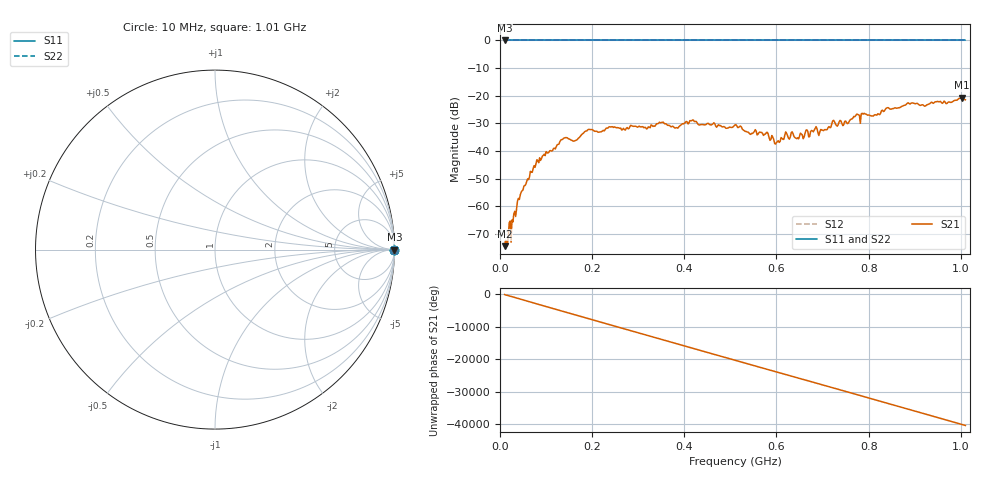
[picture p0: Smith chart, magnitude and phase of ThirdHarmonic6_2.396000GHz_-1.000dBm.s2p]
! 8/17/2025 3:55:18 AM
! C:\ANRITSUVNA\TEMP\TEMP.S2P
! CHANNEL.1
! TR.MEASUREMENT
! RAW.DATA
! RF.CORRECTION.OFF
! AVERAGING.OFF
! IF.BANDWIDTH: 5KHZ
! SWEEPTYPE:  FREQ.SWEEP(Linear)
! Reference Plane Port Info
! PORT:  PORT1  PORT2
! DISTANCE:  0  m  0  m
! TIME:  0  s  0  s
! PHASE.OFFSET:  0  deg.  0  deg.
! LOSS:  0  dB  0  dB
! REF.LOSS:  0  dB  0  dB
! REF.FREQ:  0  Hz  0  Hz
! Power Info
! POWER:  -20  dBm  -20  dBm
! EFF.POWER:  -20  dBm  -20  dBm
! SOURCE.ATTEN:  0  dB  0  dB
! TEST.ATTEN:  0  dB  0  dB
# GHZ S RI R 50.0
! FREQ.GHZ  S11RE  S11IM  S21RE  S21IM  S12RE  S12IM  S22RE  S22IM
!; PortSelection: Port_12
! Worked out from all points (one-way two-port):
!   501 points, 10 MHz to 1.01 GHz, reference 50 ohm
!   highest |S21| = -20.65 dB at 1.002 GHz (marker M1); lowest = -74.4 dB at 10 MHz (marker M2)
!   lowest |S11| = 0.0 dB at 10 MHz (marker M3)
!   |S11| at or under -10 dB: nowhere
!   |S22| runs from 0.0 to 0.0 dB; largest |S21 - S12| = 1.1
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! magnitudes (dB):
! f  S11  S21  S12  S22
! 10 MHz  0.0  -74.4  0.0  0.0
! 20 MHz  0.0  -65.9  0.0  0.0
! 42 MHz  0.0  -57.5  0.0  0.0
! 78 MHz  0.0  -44.6  0.0  0.0
! 136 MHz  0.0  -35.8  0.0  0.0
! 162 MHz  0.0  -36.3  0.0  0.0
! 178 MHz  0.0  -33.9  0.0  0.0
! 194 MHz  0.0  -32.2  0.0  0.0
! 322 MHz  0.0  -31.3  0.0  0.0
! 344 MHz  0.0  -30.0  0.0  0.0
! 382 MHz  0.0  -31.5  0.0  0.0
! 416 MHz  0.0  -29.0  0.0  0.0
! 510 MHz  0.0  -30.5  0.0  0.0
! 544 MHz  0.0  -34.0  0.0  0.0
! 578 MHz  0.0  -33.3  0.0  0.0
! 600 MHz  0.0  -36.9  0.0  0.0
! 620 MHz  0.0  -33.1  0.0  0.0
! 644 MHz  0.0  -35.5  0.0  0.0
! 678 MHz  0.0  -32.7  0.0  0.0
! 844 MHz  0.0  -24.4  0.0  0.0
! 1.002 GHz  0.0  -20.6  0.0  0.0
! 1.01 GHz  0.0  -21.4  0.0  0.0
